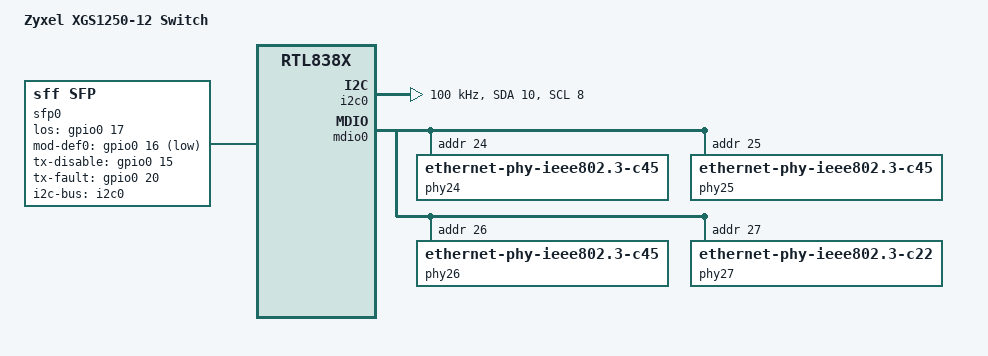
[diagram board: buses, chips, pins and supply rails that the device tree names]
// SPDX-License-Identifier: (GPL-2.0-or-later OR MIT)
/dts-v1/;

#include "rtl9302_zyxel_xgs12xx.dtsi"

/ {
	compatible = "zyxel,xgs1250-12", "realtek,rtl9302-soc", "realtek,rtl838x-soc";
	model = "Zyxel XGS1250-12 Switch";

	/* i2c of the SFP cage: port 12 */
	i2c0: i2c0 {
		compatible = "realtek,rtl9302-i2c", "realtek,rtl9300-i2c";
		reg = <0x1b00036c 0x3c>;
		#address-cells = <1>;
		#size-cells = <0>;
		sda-pin = <10>;
		scl-pin = <8>;
		clock-frequency = <100000>;
	};

	sfp0: sfp-p12 {
		compatible = "sff,sfp";
		i2c-bus = <&i2c0>;
		los-gpio = <&gpio0 17 GPIO_ACTIVE_HIGH>;
		mod-def0-gpio = <&gpio0 16 GPIO_ACTIVE_LOW>;
		tx-disable-gpio = <&gpio0 15 GPIO_ACTIVE_HIGH>;
		tx-fault-gpio = <&gpio0 20 GPIO_ACTIVE_HIGH>;
	};

	led_set {
		compatible = "realtek,rtl9302-leds", "realtek,rtl9300-leds";
		led_set0 = <0x0000 0xffff 0x0a20 0x0b80>; /* LED set 0: 10Mbit, 100Mbit, 1Gbit */
		led_set1 = <0x0a0b 0x0a28 0x0a82 0x0a0b>; /* LED set 2: 1GBit, 2.5Gbit, 5Gbit, 10Gbit */
		led_set2 = <0x0000 0xffff 0x0a20 0x0a01>; /* LED set 3: 1Gbit, 10Gbit */
	};
};

&firmware_partition {
	openwrt,ih-magic = <0x93001250>;
};

&mdio0 {
	/* External Aquantia 113C PHYs */
	phy24: ethernet-phy@24 {
		reg = <24>;
		compatible = "ethernet-phy-ieee802.3-c45";
		rtl9300,smi-address = <1 8>;
		sds = <6>;
		/* Disabled because we do not know how to bring up again */
		/* reset-gpios = <&gpio0 21 GPIO_ACTIVE_LOW>; */
	};

	phy25: ethernet-phy@25 {
		reg = <25>;
		compatible = "ethernet-phy-ieee802.3-c45";
		rtl9300,smi-address = <2 8>;
		sds = <7>;
		/* Disabled because we do not know how to bring up again */
		/* reset-gpios = <&gpio0 21 GPIO_ACTIVE_LOW>; */
	};

	phy26: ethernet-phy@26 {
		reg = <26>;
		compatible = "ethernet-phy-ieee802.3-c45";
		rtl9300,smi-address = <3 8>;
		sds = <8>;
		/* Disabled because we do not know how to bring up again */
		/* reset-gpios = <&gpio0 21 GPIO_ACTIVE_LOW>; */
	};

	/* SFP+ Port */
	phy27: ethernet-phy@27 {
		compatible = "ethernet-phy-ieee802.3-c22";
		phy-is-integrated;
		reg = <27>;
		sds = <9>;
	};
};

&switch0_ports {
	port@24 {
		reg = <24>;
		label = "lan9";
		phy-mode = "usxgmii";
		phy-handle = <&phy24>;
		led-set = <1>;
	};
	port@25 {
		reg = <25>;
		label = "lan10";
		phy-mode = "usxgmii";
		phy-handle = <&phy25>;
		led-set = <1>;
	};
	port@26 {
		reg = <26>;
		label = "lan11";
		phy-mode = "usxgmii";
		phy-handle = <&phy26>;
		led-set = <1>;
	};

	port@27 {
		reg = <27>;
		label = "lan12";
		phy-mode = "1000base-x";
		phy-handle = <&phy27>;
		managed = "in-band-status";
		sfp = <&sfp0>;
		led-set = <2>;
	};
};
